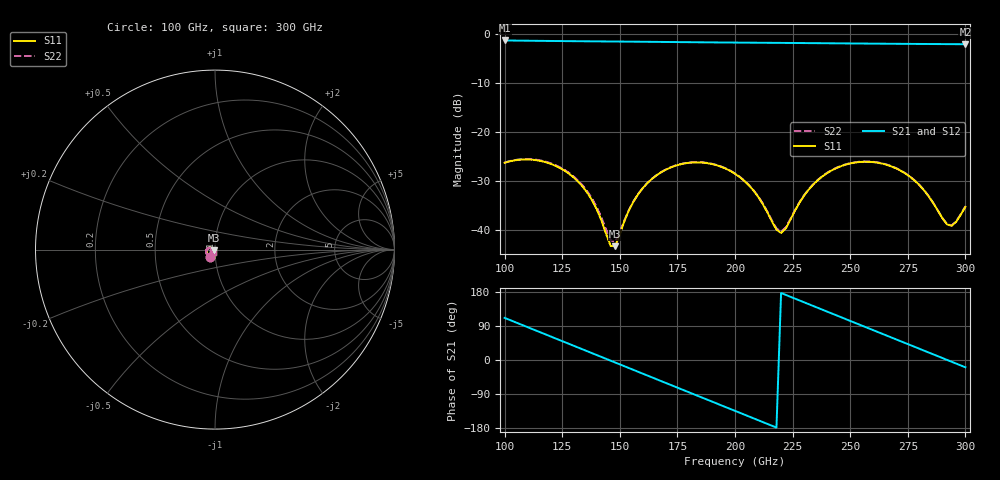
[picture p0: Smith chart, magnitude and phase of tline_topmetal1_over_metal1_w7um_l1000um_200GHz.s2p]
#  GHZ S DB R 50
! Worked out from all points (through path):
!   101 points, 100 GHz to 300 GHz, reference 50 ohm
!   highest |S21| = -1.36 dB at 100 GHz (marker M1); lowest = -2.1 dB at 300 GHz (marker M2)
!   group delay of S21, straight-line fit = 6.81 ps
!   lowest |S11| = -43.3 dB at 148 GHz (marker M3), VSWR 1.01, Z = 49.5 - j0.415 ohm
!   |S11| at or under -10 dB: start of sweep to end of sweep
!   |S22| runs from -42.4 to -25.6 dB; largest |S21 - S12| = 9.8e-14
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100  -26.31 -126.2  -1.36 111.2  -1.36 111.2  -26.27 -126.0
108  -25.65 -145.4  -1.40 91.5  -1.40 91.5  -25.58 -145.0
116  -25.98 -164.3  -1.44 71.9  -1.44 71.9  -25.89 -163.6
126  -27.92 173.3  -1.49 47.4  -1.49 47.4  -27.77 174.4
134  -31.26 158.3  -1.52 27.7  -1.52 27.7  -31.03 159.9
140  -35.82 153.6  -1.54 13.0  -1.54 13.0  -35.40 155.9
146  -43.26 -173.4  -1.57 -1.7  -1.57 -1.7  -42.13 -173.8
148  -43.34 -142.0  -1.57 -6.6  -1.57 -6.6  -42.44 -146.4
156  -34.17 -107.9  -1.61 -26.3  -1.61 -26.3  -34.14 -110.1
168  -28.23 -126.4  -1.66 -55.8  -1.66 -55.8  -28.21 -127.0
184  -26.23 -160.2  -1.73 -95.0  -1.73 -95.0  -26.19 -160.1
200  -28.56 167.6  -1.79 -134.2  -1.79 -134.2  -28.50 168.1
208  -31.97 156.5  -1.82 -153.8  -1.82 -153.8  -31.89 157.3
220  -40.64 -160.8  -1.86 176.8  -1.86 176.8  -40.38 -160.5
234  -30.74 -123.1  -1.90 142.4  -1.90 142.4  -30.67 -122.9
244  -27.40 -139.3  -1.94 117.9  -1.94 117.9  -27.34 -138.8
252  -26.28 -154.9  -1.98 98.3  -1.98 98.3  -26.22 -154.3
268  -27.09 173.7  -2.03 59.1  -2.03 59.1  -27.03 174.5
280  -30.87 155.6  -2.07 29.8  -2.07 29.8  -30.82 156.6
292  -38.86 -179.8  -2.10 0.3  -2.10 0.3  -38.82 -178.2
296  -38.37 -147.6  -2.12 -9.5  -2.12 -9.5  -38.27 -145.9
300  -35.32 -131.0  -2.13 -19.3  -2.13 -19.3  -35.20 -129.5
